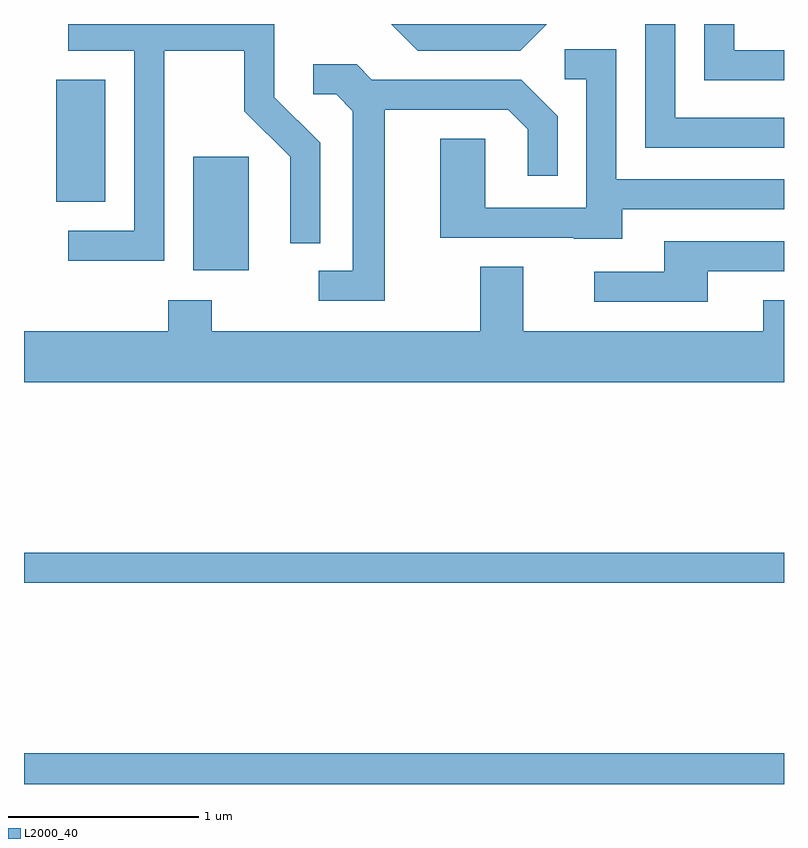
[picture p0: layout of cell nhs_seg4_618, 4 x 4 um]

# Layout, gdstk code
import gdstk
lib = gdstk.Library(unit=1e-6, precision=1e-09)
def R(c, l, rs):  # rectangles x0, y0, x1, y1
    for r in rs: c.add(gdstk.rectangle(r[:2], r[2:], *l))
def P(c, l, *ps):  # polygons
    for p in ps: c.add(gdstk.Polygon(p, *l))
L2000_40 = (2000, 40)

nhs_seg4_618 = lib.new_cell('nhs_seg4_618')
R(nhs_seg4_618, L2000_40, [(203.611,1265.982,207.611,1266.144), (203.611,1267.041,207.611,1267.199), (204.501,1268.686,204.794,1269.284), (203.781,1269.046,204.039,1269.689)])
P(nhs_seg4_618, L2000_40, [(207.611,1269.844),(207.349,1269.844),(207.349,1269.982),(207.191,1269.982),(207.191,1269.686),(207.611,1269.686)],
  [(207.611,1269.489),(207.039,1269.489),(207.039,1269.982),(206.881,1269.982),(206.881,1269.331),(207.611,1269.331)],
  [(204.349,1269.841),(204.771,1269.841),(204.771,1269.524),(205.011,1269.284),(205.011,1268.828),(205.169,1268.828),(205.169,1269.357),(204.929,1269.597),(204.929,1269.982),(203.843,1269.982),(203.843,1269.841),(204.191,1269.841),(204.191,1268.894),(203.843,1268.894),(203.843,1268.736),(204.349,1268.736)],
  [(206.363,1269.982),(205.543,1269.982),(205.684,1269.841),(206.222,1269.841)],
  [(206.759,1269.006),(207.611,1269.006),(207.611,1269.164),(206.729,1269.164),(206.729,1269.849),(206.458,1269.849),(206.458,1269.691),(206.571,1269.691),(206.571,1269.014),(206.039,1269.014),(206.039,1269.379),(205.801,1269.379),(205.801,1268.856),(206.505,1268.856),(206.505,1268.851),(206.759,1268.851)],
  [(205.509,1269.531),(206.159,1269.531),(206.261,1269.429),(206.261,1269.183),(206.419,1269.183),(206.419,1269.497),(206.227,1269.689),(205.442,1269.689),(205.362,1269.769),(205.133,1269.769),(205.133,1269.611),(205.254,1269.611),(205.341,1269.524),(205.341,1268.684),(205.163,1268.684),(205.163,1268.526),(205.509,1268.526)],
  [(207.209,1268.681),(207.611,1268.681),(207.611,1268.839),(206.981,1268.839),(206.981,1268.679),(206.613,1268.679),(206.613,1268.521),(207.209,1268.521)],
  [(207.611,1268.529),(207.501,1268.529),(207.501,1268.364),(206.239,1268.364),(206.239,1268.704),(206.011,1268.704),(206.011,1268.364),(204.599,1268.364),(204.599,1268.529),(204.371,1268.529),(204.371,1268.364),(203.611,1268.364),(203.611,1268.096),(207.611,1268.096)])

lib.write_gds('nhs_seg4_618.gds')
